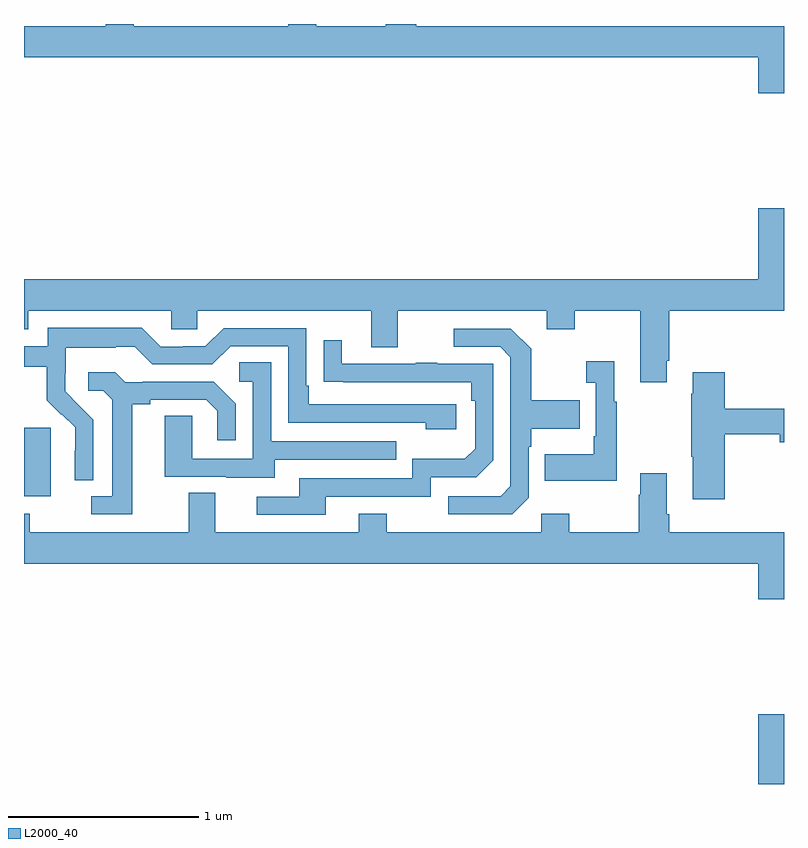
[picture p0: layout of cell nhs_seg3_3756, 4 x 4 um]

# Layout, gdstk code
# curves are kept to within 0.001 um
import gdstk
lib = gdstk.Library(unit=1e-6, precision=1e-09)
def R(c, l, rs):  # rectangles x0, y0, x1, y1
    for r in rs: c.add(gdstk.rectangle(r[:2], r[2:], *l))
def P(c, l, *ps):  # polygons
    for p in ps: c.add(gdstk.Polygon(p, *l))
L2000_40 = (2000, 40)

nhs_seg3_3756 = lib.new_cell('nhs_seg3_3756')
R(nhs_seg3_3756, L2000_40, [(308.864,722.4,309,722.767), (305,723.914,305.14,724.275)])
P(nhs_seg3_3756, L2000_40, [(309,726.388),(307.064,726.388),(307.064,726.4),(306.904,726.4),(306.904,726.388),(306.537,726.388),(306.537,726.4),(306.39,726.4),(306.39,726.388),(305.577,726.388),(305.577,726.4),(305.429,726.4),(305.429,726.388),(305,726.388),(305,726.224),(308.864,726.224),(308.864,726.036),(309,726.036)],
  [(308.383,724.627),(308.396,724.627),(308.396,724.892),(309,724.892),(309,725.431),(308.864,725.431),(308.864,725.056),(305,725.056),(305,724.793),(305.023,724.793),(305.023,724.892),(305.775,724.892),(305.775,724.794),(305.913,724.794),(305.913,724.892),(306.827,724.892),(306.827,724.698),(306.967,724.698),(306.967,724.892),(307.751,724.892),(307.751,724.793),(307.899,724.793),(307.899,724.892),(308.243,724.892),(308.243,724.515),(308.383,724.515)],
  [(305.364,724.318),(305.218,724.466),(305.218,724.563),(305.22,724.563),(305.22,724.697),(305.483,724.697),(305.483,724.701),(305.583,724.701),(305.676,724.608),(305.991,724.608),(306.087,724.704),(306.39,724.704),(306.39,724.302),(307.115,724.302),(307.115,724.268),(307.276,724.268),(307.276,724.398),(306.499,724.398),(306.499,724.495),(306.486,724.495),(306.486,724.8),(306.051,724.8),(305.955,724.704),(305.837,724.704),(305.837,724.701),(305.721,724.701),(305.621,724.801),(305.124,724.801),(305.124,724.704),(305,724.704),(305,724.596),(305.119,724.596),(305.119,724.421),(305.196,724.344),(305.199,724.347),(305.27,724.277),(305.27,724.154),(305.268,724.154),(305.268,724),(305.364,724)],
  [(307.656,723.906),(307.656,724.175),(307.669,724.175),(307.669,724.271),(307.925,724.271),(307.925,724.419),(307.669,724.419),(307.669,724.691),(307.563,724.797),(307.263,724.797),(307.263,724.701),(307.506,724.701),(307.56,724.647),(307.56,723.966),(307.509,723.915),(307.233,723.915),(307.233,723.819),(307.569,723.819)],
  [(306.589,723.912),(307.14,723.912),(307.14,724.014),(307.38,724.014),(307.47,724.104),(307.47,724.611),(307.175,724.611),(307.175,724.616),(307.063,724.616),(307.063,724.611),(306.673,724.611),(306.673,724.735),(306.577,724.735),(306.577,724.516),(307.354,724.515),(307.354,724.418),(307.374,724.418),(307.374,724.164),(307.321,724.111),(307.044,724.111),(307.044,724.008),(306.449,724.008),(306.449,723.912),(306.225,723.912),(306.225,723.816),(306.589,723.816)],
  [(308.119,724.411),(308.107,724.411),(308.107,724.624),(307.959,724.624),(307.959,724.511),(308.01,724.511),(308.01,724.231),(307.998,724.231),(307.998,724.135),(307.741,724.135),(307.741,723.995),(308.119,723.995)],
  [(306.319,724.107),(306.959,724.107),(306.959,724.203),(306.3,724.203),(306.3,724.619),(306.132,724.619),(306.132,724.518),(306.204,724.518),(306.204,724.113),(305.886,724.113),(305.886,724.337),(305.741,724.337),(305.741,724.017),(306.065,724.017),(306.065,724.013),(306.319,724.013)],
  [(305.569,724.4),(305.665,724.4),(305.665,724.422),(305.96,724.422),(306.017,724.365),(306.017,724.209),(306.114,724.209),(306.114,724.402),(305.998,724.518),(305.626,724.518),(305.626,724.515),(305.532,724.515),(305.48,724.567),(305.337,724.567),(305.337,724.47),(305.418,724.47),(305.465,724.423),(305.465,723.915),(305.355,723.915),(305.355,723.819),(305.569,723.819)],
  [(308.687,724.24),(308.978,724.24),(308.978,724.198),(309,724.198),(309,724.376),(308.687,724.376),(308.687,724.567),(308.519,724.567),(308.519,724.454),(308.512,724.454),(308.512,724.123),(308.519,724.123),(308.519,723.9),(308.687,723.9)],
  [(309,723.724),(308.396,723.724),(308.396,723.82),(308.383,723.82),(308.383,724.036),(308.243,724.036),(308.243,723.923),(308.236,723.923),(308.236,723.724),(307.869,723.724),(307.869,723.823),(307.722,723.823),(307.722,723.724),(306.909,723.724),(306.909,723.823),(306.761,723.823),(306.761,723.724),(306.007,723.724),(306.007,723.932),(305.867,723.932),(305.867,723.724),(305.031,723.724),(305.031,723.823),(305,723.823),(305,723.56),(308.864,723.56),(308.864,723.372),(309,723.372)])

lib.write_gds('nhs_seg3_3756.gds')
